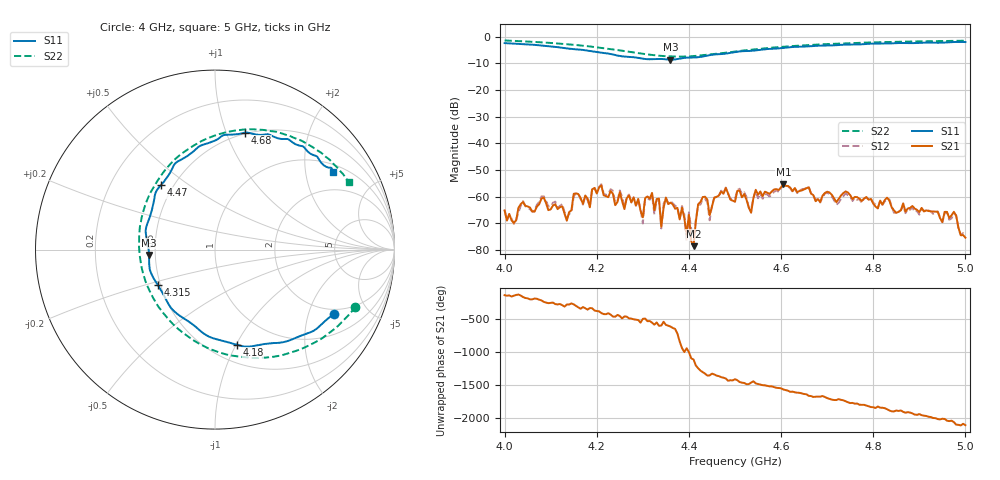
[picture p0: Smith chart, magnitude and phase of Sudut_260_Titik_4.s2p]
# Hz S RI R 50
! CMT, C1220, 16058040, 17.2.0/1
! Date: 15/08/2018 12:31:48
! Data: Format (Calibration Info)
! Freq  S11: Re/Im (F2)  S21: Re/Im (F2)  S12: Re/Im (F2)  S22: Re/Im (F2)
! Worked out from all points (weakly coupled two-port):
!   201 points, 4 GHz to 5 GHz, reference 50 ohm
!   highest |S21| = -55.35 dB at 4.605 GHz (marker M1); lowest = -78.6 dB at 4.41 GHz (marker M2)
!   lowest |S11| = -8.7 dB at 4.36 GHz (marker M3), VSWR 2.17, Z = 23.1 - j1.6 ohm
!   |S11| at or under -10 dB: nowhere
!   |S22| runs from -7.5 to -1.5 dB; largest |S21 - S12| = 0.0002
!   S11 on the Smith chart (normalised r, x): 4 GHz: 1.79, -2.96; 4.18 GHz: 0.67, -1.01; 4.315 GHz: 0.48, -0.22; 4.47 GHz: 0.43, +0.40; 4.68 GHz: 0.49, +1.16; 5 GHz: 1.25, +2.85
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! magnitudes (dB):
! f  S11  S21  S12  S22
! 4 GHz  -2.5  -65.2  -64.9  -1.5
! 4.17 GHz  -5.0  -62.8  -63.0  -3.4
! 4.18 GHz  -5.3  -60.7  -61.3  -3.6
! 4.25 GHz  -7.3  -58.4  -57.7  -5.2
! 4.3 GHz  -8.3  -67.8  -70.1  -6.5
! 4.315 GHz  -8.5  -60.8  -61.2  -6.8
! 4.335 GHz  -8.4  -60.8  -61.3  -7.2
! 4.34 GHz  -8.4  -71.3  -72.0  -7.3
! 4.36 GHz  -8.7  -62.3  -61.7  -7.5
! 4.385 GHz  -8.1  -64.2  -63.5  -7.5
! 4.395 GHz  -7.9  -74.2  -76.7  -7.5
! 4.4 GHz  -7.9  -66.9  -65.9  -7.4
! 4.41 GHz  -7.9  -78.6  -75.0  -7.3
! 4.42 GHz  -7.8  -62.9  -63.1  -7.2
! 4.445 GHz  -7.0  -67.0  -68.9  -6.7
! 4.47 GHz  -6.6  -58.1  -57.8  -6.3
! 4.5 GHz  -5.8  -62.0  -60.9  -5.6
! 4.605 GHz  -4.3  -55.3  -55.8  -3.8
! 4.67 GHz  -3.6  -59.5  -59.4  -3.1
! 4.68 GHz  -3.4  -60.9  -60.6  -3.0
! 4.835 GHz  -2.6  -61.5  -61.0  -2.1
! 5 GHz  -2.1  -75.4  -74.2  -1.6
